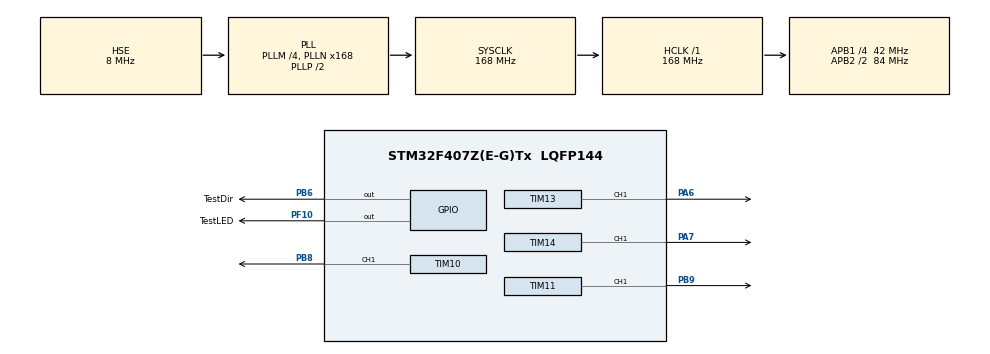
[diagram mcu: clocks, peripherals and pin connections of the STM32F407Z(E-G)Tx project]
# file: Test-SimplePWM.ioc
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Mcu.Family=STM32F4
Mcu.Name=STM32F407Z(E-G)Tx
Mcu.Package=LQFP144
NVIC.PriorityGroup=NVIC_PRIORITYGROUP_4
NVIC.TIM1_TRG_COM_TIM11_IRQn=true\:0\:0\:false\:false\:true\:true\:true\:true
NVIC.TIM1_UP_TIM10_IRQn=true\:1\:0\:true\:false\:true\:true\:true\:true
NVIC.TIM8_TRG_COM_TIM14_IRQn=true\:0\:0\:false\:false\:true\:true\:true\:true
NVIC.TIM8_UP_TIM13_IRQn=true\:0\:0\:false\:false\:true\:true\:true\:true
PA13.Mode=Serial_Wire
PA13.Signal=SYS_JTMS-SWDIO
PA14.Mode=Serial_Wire
PA14.Signal=SYS_JTCK-SWCLK
PA6.Signal=S_TIM13_CH1
PA7.Signal=S_TIM14_CH1
PB6.GPIO_Label=TestDir
PB6.GPIO_Speed=GPIO_SPEED_FREQ_VERY_HIGH
PB6.PinState=GPIO_PIN_SET
PB6.Signal=GPIO_Output
PB8.GPIO_PuPd=GPIO_PULLDOWN
PB8.GPIO_Speed=GPIO_SPEED_FREQ_VERY_HIGH
PB8.Signal=S_TIM10_CH1
PB9.Signal=S_TIM11_CH1
PF10.GPIO_Label=TestLED
PF10.GPIO_Speed=GPIO_SPEED_FREQ_VERY_HIGH
PF10.PinState=GPIO_PIN_SET
PF10.Signal=GPIO_Output
PH0-OSC_IN.Mode=HSE-External-Oscillator
PH0-OSC_IN.Signal=RCC_OSC_IN
PH1-OSC_OUT.Mode=HSE-External-Oscillator
PH1-OSC_OUT.Signal=RCC_OSC_OUT
ProjectManager.HeapSize=0x200
ProjectManager.StackSize=0x400
ProjectManager.TargetToolchain=MDK-ARM V5.32
RCC.48MHZClocksFreq_Value=84000000
RCC.AHBFreq_Value=168000000
RCC.APB1CLKDivider=RCC_HCLK_DIV4
RCC.APB1Freq_Value=42000000
RCC.APB1TimFreq_Value=84000000
RCC.APB2CLKDivider=RCC_HCLK_DIV2
RCC.APB2Freq_Value=84000000
RCC.APB2TimFreq_Value=168000000
RCC.CortexFreq_Value=168000000
RCC.HCLKFreq_Value=168000000
RCC.HSE_VALUE=8000000
RCC.HSI_VALUE=16000000
RCC.LSE_VALUE=32768
RCC.PLLM=4
RCC.PLLN=168
RCC.PLLSourceVirtual=RCC_PLLSOURCE_HSE
RCC.SYSCLKFreq_VALUE=168000000
RCC.SYSCLKSource=RCC_SYSCLKSOURCE_PLLCLK
RCC.VCOOutputFreq_Value=336000000
SH.S_TIM10_CH1.0=TIM10_CH1,PWM Generation1 CH1
SH.S_TIM11_CH1.0=TIM11_CH1,PWM Generation1 CH1
SH.S_TIM13_CH1.0=TIM13_CH1,PWM Generation1 CH1
SH.S_TIM14_CH1.0=TIM14_CH1,PWM Generation1 CH1
TIM10.AutoReloadPreload=TIM_AUTORELOAD_PRELOAD_ENABLE
TIM10.Channel=TIM_CHANNEL_1
TIM10.OC1Preload_PWM=ENABLE
TIM10.OCMode_PWM=TIM_OCMODE_PWM2
TIM10.OCPolarity_1=TIM_OCPOLARITY_HIGH
TIM10.Period=65535
TIM10.Prescaler=0
TIM10.Pulse=0
TIM11.Channel=TIM_CHANNEL_1
TIM11.Period=1000
TIM11.Prescaler=168
TIM13.Channel=TIM_CHANNEL_1
TIM13.Period=1000
TIM13.Prescaler=168
TIM14.Channel=TIM_CHANNEL_1
TIM14.ClockDivision=TIM_CLOCKDIVISION_DIV1
TIM14.Period=1000
TIM14.Prescaler=168
VP_TIM10_VS_ClockSourceINT.Mode=Enable_Timer
VP_TIM11_VS_ClockSourceINT.Mode=Enable_Timer
VP_TIM13_VS_ClockSourceINT.Mode=Enable_Timer
VP_TIM14_VS_ClockSourceINT.Mode=Enable_Timer
board=custom

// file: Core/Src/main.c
/* USER CODE BEGIN Header */
/**
  ******************************************************************************
  * @file           : main.c
  * @brief          : Main program body
  ******************************************************************************
  * @attention
  *
  * Copyright (c) 2026 STMicroelectronics.
  * All rights reserved.
  *
  * This software is licensed under terms that can be found in the LICENSE file
  * in the root directory of this software component.
  * If no LICENSE file comes with this software, it is provided AS-IS.
  *
  ******************************************************************************
  */
/* USER CODE END Header */
#include "main.h"
#include "tim.h"
#include "gpio.h"

/* USER CODE BEGIN Includes */
#include "StepperMotor.h"
/* USER CODE END Includes */

/* USER CODE BEGIN PV */
StepperMotor_t BoomStepperMotor;
/* USER CODE END PV */

void SystemClock_Config(void);

int main(void)
{

  /* MCU Configuration--------------------------------------------------------*/

  /* Reset of all peripherals, Initializes the Flash interface and the Systick. */
  HAL_Init();

  /* Configure the system clock */
  SystemClock_Config();

  /* Initialize all configured peripherals */
  MX_GPIO_Init();
  MX_TIM10_Init();
  MX_TIM11_Init();
  MX_TIM13_Init();
  MX_TIM14_Init();
  /* USER CODE BEGIN 2 */
  StepperMotor_Init( // 初始化步进电机
    &BoomStepperMotor, // 大臂步进电机
    &htim10, // 使用定时器10
    TIM_CHANNEL_1, // 使用通道1输出PWM
    168000000, // 内部时钟为168MHz
    14-1, // 进行预分频，14分频，得到168MHz/14=12MHz的CNT计数频率
    4000-1, // 设置自动重装载值为4000，得到12MHz/4000=3kHz的PWM频率
    50, // 高电平占空比50%
    TestDir_GPIO_Port, // 方向引脚端口
    TestDir_Pin, // 方向引脚号
    GPIO_PIN_SET // 高电平为正转
  ); // 在CubeMX配置了PWM引脚为PB8
  HAL_Delay(1000);
  /* USER CODE END 2 */

  /* Infinite loop */
  /* USER CODE BEGIN WHILE */
  // int32_t pulses = 200;
  // uint32_t tone[] = {523, 587, 659, 698, 784, 880, 988, 1047};
  while (1)
  {
    // for (int i=0; i<sizeof(tone)/sizeof(tone[0]); i++) {
    //   StepperMotor_MoveSteps(&BoomStepperMotor, pulses, tone[i]); // Object, steps, speed
    //   while (StepperMotor_GetRunState(&BoomStepperMotor) == StepperMotor_RunState_MoveSteps);
    //   HAL_Delay(500); // 等待1秒
    //   HAL_GPIO_TogglePin(TestLED_GPIO_Port, TestLED_Pin);
    // }
    StepperMotor_MoveSteps(&BoomStepperMotor, 800, 1555); // Object, steps, speed
    while (StepperMotor_GetRunState(&BoomStepperMotor) == StepperMotor_RunState_MoveSteps);
    HAL_Delay(500); // 等待1秒
    StepperMotor_MoveSteps(&BoomStepperMotor, -200, 999); // Object, steps, speed
    while (StepperMotor_GetRunState(&BoomStepperMotor) == StepperMotor_RunState_MoveSteps);
    HAL_Delay(500); // 等待1秒

    StepperMotor_RunContinuous(&BoomStepperMotor, StepperMotor_Direction_Forward, 600); // 以999Hz的频率持续转动，方向为正方向
    HAL_Delay(1000); // 延时1秒
    StepperMotor_Stop(&BoomStepperMotor); // 停止电机
    HAL_Delay(1000); // 延时1秒

    StepperMotor_RunContinuous(&BoomStepperMotor, StepperMotor_Direction_Backward, 999); // 以999Hz的频率持续转动，方向为反方向
    HAL_Delay(1000); // 延时1秒
    StepperMotor_Stop(&BoomStepperMotor); // 停止电机
    HAL_Delay(1000); // 延时1秒
    /* USER CODE END WHILE */

  }
}

void SystemClock_Config(void)
{
  RCC_OscInitTypeDef RCC_OscInitStruct = {0};
  RCC_ClkInitTypeDef RCC_ClkInitStruct = {0};

  /** Configure the main internal regulator output voltage
  */
  __HAL_RCC_PWR_CLK_ENABLE();
  __HAL_PWR_VOLTAGESCALING_CONFIG(PWR_REGULATOR_VOLTAGE_SCALE1);

  /** Initializes the RCC Oscillators according to the specified parameters
  * in the RCC_OscInitTypeDef structure.
  */
  RCC_OscInitStruct.OscillatorType = RCC_OSCILLATORTYPE_HSE;
  RCC_OscInitStruct.HSEState = RCC_HSE_ON;
  RCC_OscInitStruct.PLL.PLLState = RCC_PLL_ON;
  RCC_OscInitStruct.PLL.PLLSource = RCC_PLLSOURCE_HSE;
  RCC_OscInitStruct.PLL.PLLM = 4;
  RCC_OscInitStruct.PLL.PLLN = 168;
  RCC_OscInitStruct.PLL.PLLP = RCC_PLLP_DIV2;
  RCC_OscInitStruct.PLL.PLLQ = 4;
  if (HAL_RCC_OscConfig(&RCC_OscInitStruct) != HAL_OK)
  {
    Error_Handler();
  }

  /** Initializes the CPU, AHB and APB buses clocks
  */
  RCC_ClkInitStruct.ClockType = RCC_CLOCKTYPE_HCLK|RCC_CLOCKTYPE_SYSCLK
                              |RCC_CLOCKTYPE_PCLK1|RCC_CLOCKTYPE_PCLK2;
  RCC_ClkInitStruct.SYSCLKSource = RCC_SYSCLKSOURCE_PLLCLK;
  RCC_ClkInitStruct.AHBCLKDivider = RCC_SYSCLK_DIV1;
  RCC_ClkInitStruct.APB1CLKDivider = RCC_HCLK_DIV4;
  RCC_ClkInitStruct.APB2CLKDivider = RCC_HCLK_DIV2;

  if (HAL_RCC_ClockConfig(&RCC_ClkInitStruct, FLASH_LATENCY_5) != HAL_OK)
  {
    Error_Handler();
  }
}

void Error_Handler(void)
{
  __disable_irq();
  while (1)
  {
  }
}
